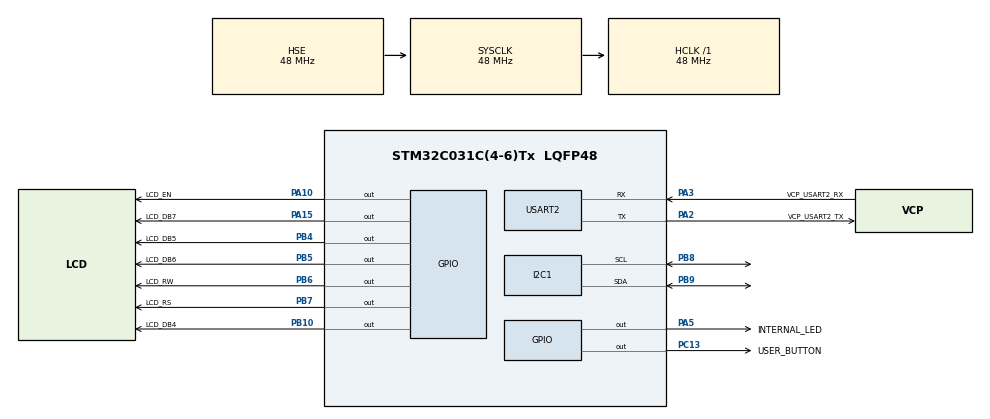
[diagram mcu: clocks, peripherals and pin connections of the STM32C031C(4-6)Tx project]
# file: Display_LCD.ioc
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I2C1.Timing=0x10805D88
Mcu.Family=STM32C0
Mcu.Name=STM32C031C(4-6)Tx
Mcu.Package=LQFP48
PA10.GPIO_Label=LCD_EN
PA10.Signal=GPIO_Output
PA13.GPIO_Label=DEBUG_SWDIO
PA13.Signal=DEBUG_SWDIO
PA14-BOOT0.GPIO_Label=DEBUG_SWCLK
PA14-BOOT0.Signal=DEBUG_SWCLK
PA15.GPIO_Label=LCD_DB7
PA15.Signal=GPIO_Output
PA2.GPIO_Label=VCP_USART2_TX
PA2.Mode=Asynchronous
PA2.Signal=USART2_TX
PA3.GPIO_Label=VCP_USART2_RX
PA3.Mode=Asynchronous
PA3.Signal=USART2_RX
PA5.GPIO_Label=INTERNAL_LED
PA5.Signal=GPIO_Output
PB10.GPIO_Label=LCD_DB4
PB10.Signal=GPIO_Output
PB4.GPIO_Label=LCD_DB5
PB4.Signal=GPIO_Output
PB5.GPIO_Label=LCD_DB6
PB5.Signal=GPIO_Output
PB6.GPIO_Label=LCD_RW
PB6.Signal=GPIO_Output
PB7.GPIO_Label=LCD_RS
PB7.Signal=GPIO_Output
PB8.Mode=I2C
PB8.Signal=I2C1_SCL
PB9.Mode=I2C
PB9.Signal=I2C1_SDA
PC13.GPIO_Label=USER_BUTTON
PC13.Signal=GPIO_Output
PC14-OSCX_IN\ (PC14).GPIO_Label=RCC_OSCX_IN
PC14-OSCX_IN\ (PC14).Mode=LSE-External-Oscillator
PC14-OSCX_IN\ (PC14).Signal=RCC_OSCX_IN
PC15-OSCX_OUT\ (PC15).GPIO_Label=RCC_OSCX_OUT
PC15-OSCX_OUT\ (PC15).Mode=LSE-External-Oscillator
PC15-OSCX_OUT\ (PC15).Signal=RCC_OSCX_OUT
PF0-OSC_IN\ (PF0).GPIO_Label=RCC_OSC_IN
PF0-OSC_IN\ (PF0).Mode=HSE-External-Oscillator
PF0-OSC_IN\ (PF0).Signal=RCC_OSC_IN
PF1-OSC_OUT\ (PF1).GPIO_Label=RCC_OSC_OUT
PF1-OSC_OUT\ (PF1).Mode=HSE-External-Oscillator
PF1-OSC_OUT\ (PF1).Signal=RCC_OSC_OUT
ProjectManager.HeapSize=0x200
ProjectManager.StackSize=0x400
ProjectManager.TargetToolchain=STM32CubeIDE
RCC.ADCFreq_Value=48000000
RCC.AHBFreq_Value=48000000
RCC.CortexFreq_Value=48000000
RCC.EXTERNAL_CLOCK_VALUE=12288000
RCC.HCLKFreq_Value=48000000
RCC.HSE_VALUE=48000000
RCC.HSISYSCLKDivider=RCC_HSI_DIV1
RCC.HSI_VALUE=48000000
RCC.SYSCLKFreq_VALUE=48000000
RCC.SYSCLKSource=RCC_SYSCLKSOURCE_HSE
USART2.VirtualMode-Asynchronous=VM_ASYNC
board=NUCLEO-C031C6

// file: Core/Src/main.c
/* USER CODE BEGIN Header */
/**
  ******************************************************************************
  * @file           : main.c
  * @brief          : Main program body
  ******************************************************************************
  */
/* USER CODE END Header */
#include "main.h"

/* USER CODE BEGIN Includes */
#include <string.h>
#include <stdio.h>
#include "string.h"
#include <ctype.h>
/* USER CODE END Includes */

I2C_HandleTypeDef hi2c1;

UART_HandleTypeDef huart2;

/* USER CODE BEGIN PV */
volatile uint8_t lcd_running = 1;  // Variabile semaforo: 1 = il display si aggiorna, 0 = in pausa
/* USER CODE END PV */

void SystemClock_Config(void);
static void MX_GPIO_Init(void);
static void MX_USART2_UART_Init(void);
static void MX_I2C1_Init(void);

/* USER CODE BEGIN 0 */
#define LPS22HH_ADDR       0xBA     // Indirizzo del sensore sul bus I2C

#define LPS22HH_CTRL_REG1  0x10     // Registro per accendere il sensore

#define LPS22HH_TEMP_L     0x2B     // Registri dove il sensore scrive la temperatura
#define LPS22HH_TEMP_H     0x2C

// Funzione che ACCENDE il sensore
void LPS22HH_Init(void) {
    uint8_t config = 0x32;
    HAL_I2C_Mem_Write(&hi2c1, LPS22HH_ADDR, LPS22HH_CTRL_REG1,
                      I2C_MEMADD_SIZE_8BIT, &config, 1, HAL_MAX_DELAY);
}

// Funzione che LEGGE la temperatura dal sensore
int16_t LPS22HH_ReadTemp(void) {
    uint8_t status = 0;
    uint32_t timeout = 1000;

    // Aspetta finché il sensore non dice "dato pronto"
    while (!(status & 0x02) && timeout > 0) {
        HAL_I2C_Mem_Read(&hi2c1, LPS22HH_ADDR, 0x27,
                         I2C_MEMADD_SIZE_8BIT, &status, 1, HAL_MAX_DELAY);
        timeout--;
    }

    // Ora leggi la temperatura
    uint8_t raw[2];
    HAL_I2C_Mem_Read(&hi2c1, LPS22HH_ADDR, LPS22HH_TEMP_L,
                     I2C_MEMADD_SIZE_8BIT, raw, 2, HAL_MAX_DELAY);
    return (int16_t)((raw[1] << 8) | raw[0]);
}

void LCD_Pulse_EN(void) {
    // 1. Ritardo per far stabilizzare i dati prima di dare l'Enable (Setup Time)
    for(volatile int x=0; x<5; x++);

    // 2. Alza Enable
    LL_GPIO_SetOutputPin(LCD_EN_GPIO_Port, LCD_EN_Pin);
    for(volatile int x=0; x<20; x++);                    // Ritardo per fargli leggere il dato

    // 3. Abbassa Enable
    LL_GPIO_ResetOutputPin(LCD_EN_GPIO_Port, LCD_EN_Pin);
    for(volatile int x=0; x<20; x++);                    // Ritardo di Hold Time
}

void LCD_Send_Nibble(uint8_t nibble) {

    if (nibble & 0x01) LL_GPIO_SetOutputPin(LCD_DB4_GPIO_Port, LCD_DB4_Pin);
    else               LL_GPIO_ResetOutputPin(LCD_DB4_GPIO_Port, LCD_DB4_Pin);

    if (nibble & 0x02) LL_GPIO_SetOutputPin(LCD_DB5_GPIO_Port, LCD_DB5_Pin);
    else               LL_GPIO_ResetOutputPin(LCD_DB5_GPIO_Port, LCD_DB5_Pin);

    if (nibble & 0x04) LL_GPIO_SetOutputPin(LCD_DB6_GPIO_Port, LCD_DB6_Pin);
    else               LL_GPIO_ResetOutputPin(LCD_DB6_GPIO_Port, LCD_DB6_Pin);

    if (nibble & 0x08) LL_GPIO_SetOutputPin(LCD_DB7_GPIO_Port, LCD_DB7_Pin);
    else               LL_GPIO_ResetOutputPin(LCD_DB7_GPIO_Port, LCD_DB7_Pin);

    LCD_Pulse_EN();
}

// FUNZIONE CORRETTA: Legge il Busy Flag evitando cortocircuiti logici
void LCD_WaitBusy(void) {
    uint8_t isBusy = 1;
    uint32_t timeout = 50000;

    // FONDAMENTALE: Imposta TUTTI i pin dati come INPUT prima di leggere
    LL_GPIO_SetPinMode(LCD_DB4_GPIO_Port, LCD_DB4_Pin, LL_GPIO_MODE_INPUT);
    LL_GPIO_SetPinMode(LCD_DB5_GPIO_Port, LCD_DB5_Pin, LL_GPIO_MODE_INPUT);
    LL_GPIO_SetPinMode(LCD_DB6_GPIO_Port, LCD_DB6_Pin, LL_GPIO_MODE_INPUT);
    LL_GPIO_SetPinMode(LCD_DB7_GPIO_Port, LCD_DB7_Pin, LL_GPIO_MODE_INPUT);

    // RS = 0 (Comando), RW = 1 (Lettura)
    LL_GPIO_ResetOutputPin(LCD_RS_GPIO_Port, LCD_RS_Pin);
    LL_GPIO_SetOutputPin(LCD_RW_GPIO_Port, LCD_RW_Pin);

    while (isBusy && timeout > 0) {
        // Leggi il primo nibble (dove si trova il Busy Flag su DB7)
        LL_GPIO_SetOutputPin(LCD_EN_GPIO_Port, LCD_EN_Pin);
        for(volatile int x=0; x<15; x++);
        isBusy = LL_GPIO_IsInputPinSet(LCD_DB7_GPIO_Port, LCD_DB7_Pin);
        LL_GPIO_ResetOutputPin(LCD_EN_GPIO_Port, LCD_EN_Pin);
        for(volatile int x=0; x<15; x++);

        // Leggi il secondo nibble (Obbligatorio a 4 bit per chiudere il ciclo!)
        LL_GPIO_SetOutputPin(LCD_EN_GPIO_Port, LCD_EN_Pin);
        for(volatile int x=0; x<15; x++);
        LL_GPIO_ResetOutputPin(LCD_EN_GPIO_Port, LCD_EN_Pin);
        for(volatile int x=0; x<15; x++);

        timeout--;
    }

    // Ripristina la scrittura (RW=0) e rimetti TUTTI i pin come OUTPUT
    LL_GPIO_ResetOutputPin(LCD_RW_GPIO_Port, LCD_RW_Pin);
    LL_GPIO_SetPinMode(LCD_DB4_GPIO_Port, LCD_DB4_Pin, LL_GPIO_MODE_OUTPUT);
    LL_GPIO_SetPinMode(LCD_DB5_GPIO_Port, LCD_DB5_Pin, LL_GPIO_MODE_OUTPUT);
    LL_GPIO_SetPinMode(LCD_DB6_GPIO_Port, LCD_DB6_Pin, LL_GPIO_MODE_OUTPUT);
    LL_GPIO_SetPinMode(LCD_DB7_GPIO_Port, LCD_DB7_Pin, LL_GPIO_MODE_OUTPUT);
}

void LCD_Send_Byte(uint8_t byte, uint8_t isData) {
    HAL_Delay(2);

    LL_GPIO_ResetOutputPin(LCD_RW_GPIO_Port, LCD_RW_Pin);

    if (isData) LL_GPIO_SetOutputPin(LCD_RS_GPIO_Port, LCD_RS_Pin);
    else        LL_GPIO_ResetOutputPin(LCD_RS_GPIO_Port, LCD_RS_Pin);

    LCD_Send_Nibble(byte >> 4);
    LCD_Send_Nibble(byte & 0x0F);
}

void LCD_Init(void) {
    HAL_Delay(50);       // attesa power-on

    // Inizializzazione 4-bit forzata a mano (senza leggere il flag)
    LL_GPIO_ResetOutputPin(LCD_RS_GPIO_Port, LCD_RS_Pin);
    LL_GPIO_ResetOutputPin(LCD_RW_GPIO_Port, LCD_RW_Pin);

    LCD_Send_Nibble(0x03); HAL_Delay(5);
    LCD_Send_Nibble(0x03); HAL_Delay(1);
    LCD_Send_Nibble(0x03); HAL_Delay(1);
    LCD_Send_Nibble(0x02); HAL_Delay(1); // passa a 4-bit

    // Da qui in poi Send_Byte userà il Busy Flag
    LCD_Send_Byte(0x28, 0);               // 4-bit, 2 righe, 5x8
    LCD_Send_Byte(0x0C, 0);               // display ON, cursore OFF
    LCD_Send_Byte(0x06, 0);               // incremento automatico
    LCD_Send_Byte(0x01, 0);               // clear display
}

void LCD_Print(const char *str) {
    while (*str) {
        LCD_Send_Byte((uint8_t)*str++, 1);
    }
}
void LCD_Set_Cursor(uint8_t row, uint8_t col) {
    uint8_t address = (row == 0) ? 0x00 : 0x40;
    address += col;
    LCD_Send_Byte(0x80 | address, 0);
}

/* USER CODE END 0 */

int main(void)
{

  /* MCU Configuration--------------------------------------------------------*/

  /* Reset of all peripherals, Initializes the Flash interface and the Systick. */
  HAL_Init();

  /* Configure the system clock */
  SystemClock_Config();

  /* Initialize all configured peripherals */
  MX_GPIO_Init();
  MX_USART2_UART_Init();
  MX_I2C1_Init();
  /* USER CODE BEGIN 2 */
  // Accendi il sensore
  LPS22HH_Init();
  HAL_Delay(100); // aspetta 100ms che si stabilizzi

  // Manda un messaggio di "benvenuto" sulla seriale
  char msg[] = "=== Avvio lettura temperatura ===\r\n";
  HAL_UART_Transmit(&huart2, (uint8_t*)msg, strlen(msg), HAL_MAX_DELAY);
  LCD_Init();

  // Variabili richieste prima del ciclo while
 // uint8_t i = 0;
  //char buff[16];
  /* USER CODE END 2 */

  /* Infinite loop */
  while (1)
  {

    /* USER CODE BEGIN 3 */

	  int16_t raw_temp = LPS22HH_ReadTemp();                                           // Leggi la temperatura grezza dal sensore

	  int intero   = raw_temp / 100;                                                   // Trasforma in gradi leggibili (es: 2350 → 23.5)
	  int decimale = (raw_temp % 100) / 10;

	  char buffer[64];                                                                 // Prepara la stringa da mandare
	  sprintf(buffer, "Temperatura: %d.%d C\r\n", intero, decimale);

	  HAL_UART_Transmit(&huart2, (uint8_t*)buffer, strlen(buffer), HAL_MAX_DELAY);     // Manda sulla seriale verso il PC

	  char lcd_buf[16];	                                                               // Mostra la temperatura sull'LCD
	  sprintf(lcd_buf, "Temp: %d.%d C", intero, decimale);
	  LCD_Set_Cursor(0, 0);                                                            // prima riga
	  LCD_Print(lcd_buf);

	  HAL_Delay(500);                                                                // Aspetta 0.5 secondi prima di leggere di nuovo

//	  VECCHIO CODICE
    // Se il semaforo è verde (1), aggiorna il display
    //if (lcd_running == 1)
    {
       // LCD_Send_Byte(0x01, 0); // lcdSendCmd(0x01) -> Pulisce il display
        // RIMOSSO HAL_Delay(2); perché c'è il Busy Flag!

        // Stampa sulla prima riga
       // sprintf(buff, "Char %4d -> ", i);
       // LCD_Set_Cursor(0, 0);
       // LCD_Print(buff);
      //  LCD_Send_Byte(i, 1);    // lcdSendChar(i) -> Invia il singolo carattere ASCII

        // Stampa sulla seconda riga (in Esadecimale)
       // sprintf(buff, "Char 0x%02X -> %c", i, i);
       // LCD_Set_Cursor(1, 0);
        //LCD_Print(buff);

      //  i += 1; // Passa al carattere successivo
        //char uart_msg[40];
        	//	sprintf(uart_msg, "Char %4d -> %c\r\nChar 0x%02X -> %c\r\n\r\n", i, isprint(i) ? i : '.', i, isprint(i) ? i : '.');
              //  HAL_UART_Transmit(&huart2, (uint8_t*)uart_msg, strlen(uart_msg), HAL_MAX_DELAY);
    }

    // Aspetta in ogni caso 750ms prima di ripetere il ciclo
   // HAL_Delay(750);

  }
  /* USER CODE END 3 */
}

void SystemClock_Config(void)
{
  RCC_OscInitTypeDef RCC_OscInitStruct = {0};
  RCC_ClkInitTypeDef RCC_ClkInitStruct = {0};

  __HAL_FLASH_SET_LATENCY(FLASH_LATENCY_1);

  /** Initializes the RCC Oscillators according to the specified parameters
  * in the RCC_OscInitTypeDef structure.
  */
  RCC_OscInitStruct.OscillatorType = RCC_OSCILLATORTYPE_HSE;
  RCC_OscInitStruct.HSEState = RCC_HSE_ON;
  if (HAL_RCC_OscConfig(&RCC_OscInitStruct) != HAL_OK)
  {
    Error_Handler();
  }

  /** Initializes the CPU, AHB and APB buses clocks
  */
  RCC_ClkInitStruct.ClockType = RCC_CLOCKTYPE_HCLK|RCC_CLOCKTYPE_SYSCLK
                              |RCC_CLOCKTYPE_PCLK1;
  RCC_ClkInitStruct.SYSCLKSource = RCC_SYSCLKSOURCE_HSE;
  RCC_ClkInitStruct.SYSCLKDivider = RCC_SYSCLK_DIV1;
  RCC_ClkInitStruct.AHBCLKDivider = RCC_HCLK_DIV1;
  RCC_ClkInitStruct.APB1CLKDivider = RCC_APB1_DIV1;

  if (HAL_RCC_ClockConfig(&RCC_ClkInitStruct, FLASH_LATENCY_1) != HAL_OK)
  {
    Error_Handler();
  }
}

static void MX_I2C1_Init(void)
{

  hi2c1.Instance = I2C1;
  hi2c1.Init.Timing = 0x10805D88;
  hi2c1.Init.OwnAddress1 = 0;
  hi2c1.Init.AddressingMode = I2C_ADDRESSINGMODE_7BIT;
  hi2c1.Init.DualAddressMode = I2C_DUALADDRESS_DISABLE;
  hi2c1.Init.OwnAddress2 = 0;
  hi2c1.Init.OwnAddress2Masks = I2C_OA2_NOMASK;
  hi2c1.Init.GeneralCallMode = I2C_GENERALCALL_DISABLE;
  hi2c1.Init.NoStretchMode = I2C_NOSTRETCH_DISABLE;
  if (HAL_I2C_Init(&hi2c1) != HAL_OK)
  {
    Error_Handler();
  }

  /** Configure Analogue filter
  */
  if (HAL_I2CEx_ConfigAnalogFilter(&hi2c1, I2C_ANALOGFILTER_ENABLE) != HAL_OK)
  {
    Error_Handler();
  }

  /** Configure Digital filter
  */
  if (HAL_I2CEx_ConfigDigitalFilter(&hi2c1, 0) != HAL_OK)
  {
    Error_Handler();
  }

}

static void MX_USART2_UART_Init(void)
{

  huart2.Instance = USART2;
  huart2.Init.BaudRate = 115200;
  huart2.Init.WordLength = UART_WORDLENGTH_8B;
  huart2.Init.StopBits = UART_STOPBITS_1;
  huart2.Init.Parity = UART_PARITY_NONE;
  huart2.Init.Mode = UART_MODE_TX_RX;
  huart2.Init.HwFlowCtl = UART_HWCONTROL_NONE;
  huart2.Init.OverSampling = UART_OVERSAMPLING_16;
  huart2.Init.OneBitSampling = UART_ONE_BIT_SAMPLE_DISABLE;
  huart2.Init.ClockPrescaler = UART_PRESCALER_DIV1;
  huart2.AdvancedInit.AdvFeatureInit = UART_ADVFEATURE_NO_INIT;
  if (HAL_UART_Init(&huart2) != HAL_OK)
  {
    Error_Handler();
  }

}

static void MX_GPIO_Init(void)
{
  LL_GPIO_InitTypeDef GPIO_InitStruct = {0};

  /* GPIO Ports Clock Enable */
  LL_IOP_GRP1_EnableClock(LL_IOP_GRP1_PERIPH_GPIOC);
  LL_IOP_GRP1_EnableClock(LL_IOP_GRP1_PERIPH_GPIOF);
  LL_IOP_GRP1_EnableClock(LL_IOP_GRP1_PERIPH_GPIOA);
  LL_IOP_GRP1_EnableClock(LL_IOP_GRP1_PERIPH_GPIOB);

  /**/
  LL_GPIO_ResetOutputPin(USER_BUTTON_GPIO_Port, USER_BUTTON_Pin);

  /**/
  LL_GPIO_ResetOutputPin(INTERNAL_LED_GPIO_Port, INTERNAL_LED_Pin);

  /**/
  LL_GPIO_ResetOutputPin(LCD_DB4_GPIO_Port, LCD_DB4_Pin);

  /**/
  LL_GPIO_ResetOutputPin(LCD_EN_GPIO_Port, LCD_EN_Pin);

  /**/
  LL_GPIO_ResetOutputPin(LCD_DB7_GPIO_Port, LCD_DB7_Pin);

  /**/
  LL_GPIO_ResetOutputPin(LCD_DB5_GPIO_Port, LCD_DB5_Pin);

  /**/
  LL_GPIO_ResetOutputPin(LCD_DB6_GPIO_Port, LCD_DB6_Pin);

  /**/
  LL_GPIO_ResetOutputPin(LCD_RW_GPIO_Port, LCD_RW_Pin);

  /**/
  LL_GPIO_ResetOutputPin(LCD_RS_GPIO_Port, LCD_RS_Pin);

  /**/
  GPIO_InitStruct.Pin = USER_BUTTON_Pin;
  GPIO_InitStruct.Mode = LL_GPIO_MODE_OUTPUT;
  GPIO_InitStruct.Speed = LL_GPIO_SPEED_FREQ_LOW;
  GPIO_InitStruct.OutputType = LL_GPIO_OUTPUT_PUSHPULL;
  GPIO_InitStruct.Pull = LL_GPIO_PULL_NO;
  LL_GPIO_Init(USER_BUTTON_GPIO_Port, &GPIO_InitStruct);

  /**/
  GPIO_InitStruct.Pin = INTERNAL_LED_Pin;
  GPIO_InitStruct.Mode = LL_GPIO_MODE_OUTPUT;
  GPIO_InitStruct.Speed = LL_GPIO_SPEED_FREQ_LOW;
  GPIO_InitStruct.OutputType = LL_GPIO_OUTPUT_PUSHPULL;
  GPIO_InitStruct.Pull = LL_GPIO_PULL_NO;
  LL_GPIO_Init(INTERNAL_LED_GPIO_Port, &GPIO_InitStruct);

  /**/
  GPIO_InitStruct.Pin = LCD_DB4_Pin;
  GPIO_InitStruct.Mode = LL_GPIO_MODE_OUTPUT;
  GPIO_InitStruct.Speed = LL_GPIO_SPEED_FREQ_LOW;
  GPIO_InitStruct.OutputType = LL_GPIO_OUTPUT_PUSHPULL;
  GPIO_InitStruct.Pull = LL_GPIO_PULL_NO;
  LL_GPIO_Init(LCD_DB4_GPIO_Port, &GPIO_InitStruct);

  /**/
  GPIO_InitStruct.Pin = LCD_EN_Pin;
  GPIO_InitStruct.Mode = LL_GPIO_MODE_OUTPUT;
  GPIO_InitStruct.Speed = LL_GPIO_SPEED_FREQ_LOW;
  GPIO_InitStruct.OutputType = LL_GPIO_OUTPUT_PUSHPULL;
  GPIO_InitStruct.Pull = LL_GPIO_PULL_NO;
  LL_GPIO_Init(LCD_EN_GPIO_Port, &GPIO_InitStruct);

  /**/
  GPIO_InitStruct.Pin = LCD_DB7_Pin;
  GPIO_InitStruct.Mode = LL_GPIO_MODE_OUTPUT;
  GPIO_InitStruct.Speed = LL_GPIO_SPEED_FREQ_LOW;
  GPIO_InitStruct.OutputType = LL_GPIO_OUTPUT_PUSHPULL;
  GPIO_InitStruct.Pull = LL_GPIO_PULL_NO;
  LL_GPIO_Init(LCD_DB7_GPIO_Port, &GPIO_InitStruct);

  /**/
  GPIO_InitStruct.Pin = LCD_DB5_Pin;
  GPIO_InitStruct.Mode = LL_GPIO_MODE_OUTPUT;
  GPIO_InitStruct.Speed = LL_GPIO_SPEED_FREQ_LOW;
  GPIO_InitStruct.OutputType = LL_GPIO_OUTPUT_PUSHPULL;
  GPIO_InitStruct.Pull = LL_GPIO_PULL_NO;
  LL_GPIO_Init(LCD_DB5_GPIO_Port, &GPIO_InitStruct);

  /**/
  GPIO_InitStruct.Pin = LCD_DB6_Pin;
  GPIO_InitStruct.Mode = LL_GPIO_MODE_OUTPUT;
  GPIO_InitStruct.Speed = LL_GPIO_SPEED_FREQ_LOW;
  GPIO_InitStruct.OutputType = LL_GPIO_OUTPUT_PUSHPULL;
  GPIO_InitStruct.Pull = LL_GPIO_PULL_NO;
  LL_GPIO_Init(LCD_DB6_GPIO_Port, &GPIO_InitStruct);

  /**/
  GPIO_InitStruct.Pin = LCD_RW_Pin;
  GPIO_InitStruct.Mode = LL_GPIO_MODE_OUTPUT;
  GPIO_InitStruct.Speed = LL_GPIO_SPEED_FREQ_LOW;
  GPIO_InitStruct.OutputType = LL_GPIO_OUTPUT_PUSHPULL;
  GPIO_InitStruct.Pull = LL_GPIO_PULL_NO;
  LL_GPIO_Init(LCD_RW_GPIO_Port, &GPIO_InitStruct);

  /**/
  GPIO_InitStruct.Pin = LCD_RS_Pin;
  GPIO_InitStruct.Mode = LL_GPIO_MODE_OUTPUT;
  GPIO_InitStruct.Speed = LL_GPIO_SPEED_FREQ_LOW;
  GPIO_InitStruct.OutputType = LL_GPIO_OUTPUT_PUSHPULL;
  GPIO_InitStruct.Pull = LL_GPIO_PULL_NO;
  LL_GPIO_Init(LCD_RS_GPIO_Port, &GPIO_InitStruct);

  /* USER CODE BEGIN MX_GPIO_Init_2 */
    NVIC_SetPriority(EXTI4_15_IRQn, 0); // Imposta la priorità (0 = massima)
    NVIC_EnableIRQ(EXTI4_15_IRQn);      // Abilita l'interrupt
  /* USER CODE END MX_GPIO_Init_2 */
}

/* USER CODE BEGIN 4 */

/**
  * @brief Questa funzione gestisce gli interrupt delle linee EXTI da 4 a 15.
  */
void EXTI4_15_IRQHandler(void)
{

  if (LL_EXTI_IsActiveRisingFlag_0_31(LL_EXTI_LINE_13) != RESET)          // Verifica se l'interrupt è stato generato dalla linea 13 sul fronte di salita (RISING)
  {

    LL_EXTI_ClearRisingFlag_0_31(LL_EXTI_LINE_13);                        // 1. Pulisce la flag dell'interrupt RISING (FONDAMENTALE)

    // 2. Controllo anti-rimbalzo (Debouncing)

    static uint32_t ultimo_istante_pressione = 0;                          // Memorizza l'ultimo momento in cui hai premuto il tasto
    uint32_t istante_attuale = HAL_GetTick();                              // Prende il tempo in millisecondi

    if ((istante_attuale - ultimo_istante_pressione) > 200)               // Se sono passati almeno 200 millisecondi dall'ultima pressione vera
    {
        // 3. Inverti lo stato di esecuzione (se era 1 diventa 0, se 0 diventa 1)
        lcd_running = !lcd_running;

        // 4. Inverti il LED per avere un feedback visivo immediato
        LL_GPIO_TogglePin(INTERNAL_LED_GPIO_Port, INTERNAL_LED_Pin);

        ultimo_istante_pressione = istante_attuale;                     // Salva il tempo di questa pressione
    }
  }
}

/* USER CODE END 4 */

void Error_Handler(void)
{
  __disable_irq();
  while (1)
  {
  }
}
